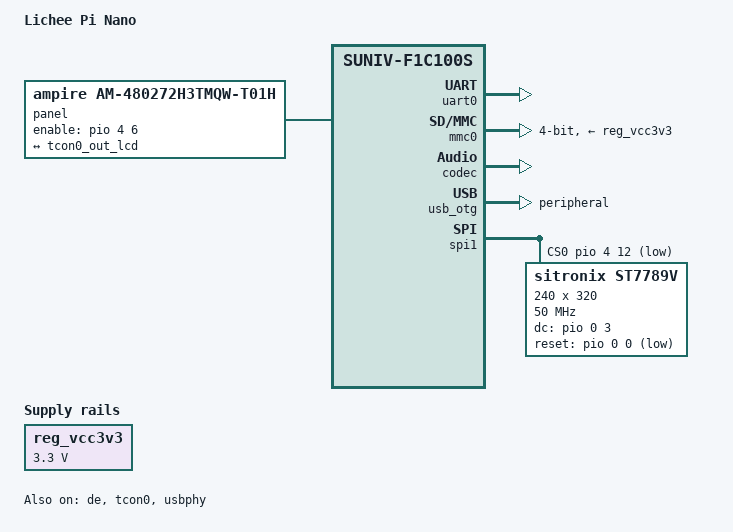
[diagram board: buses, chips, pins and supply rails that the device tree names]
// SPDX-License-Identifier: (GPL-2.0+ OR X11)
/*
 * Copyright 2018 Icenowy Zheng <icenowy@aosc.io>
 */

/dts-v1/;
#include "suniv-f1c100s.dtsi"
#include <dt-bindings/gpio/gpio.h>

/ {
	model = "Lichee Pi Nano";
	compatible = "licheepi,licheepi-nano", "allwinner,suniv-f1c100s";

	aliases {
		serial0 = &uart0;
	};

	chosen {
		stdout-path = "serial0:115200n8";
	};
reg_vcc3v3: vcc3v3 {
        compatible = "regulator-fixed";
        regulator-name = "vcc3v3";
        regulator-min-microvolt = <3300000>;
        regulator-max-microvolt = <3300000>;
    };
panel: panel {  //面板设备节点
		compatible = "ampire,am-480272h3tmqw-t01h", "simple-panel";  //这里是套用了现成的驱动，驱动型号需要根据具体的显示屏进行修改
		#address-cells = <1>;
		#size-cells = <0>;
		enable-gpios = <&pio 4 6 GPIO_ACTIVE_HIGH>;  //指定背光脚位，引用了函数，所以需要添加宏定义

		port@0 {
			reg = <0>;
			#address-cells = <1>;
			#size-cells = <0>;

			panel_input: endpoint@0 {  //panel作为驱动tft的设备，数据来源只有一处，就是tcon的输出，也是通过管道获取
				reg = <0>;
				remote-endpoint = <&tcon0_out_lcd>;
			};
		};
	};
};

&uart0 {
	pinctrl-names = "default";
	pinctrl-0 = <&uart0_pe_pins>;
	status = "okay";
};
&mmc0 {
        vmmc-supply = <&reg_vcc3v3>;
        bus-width = <4>;
        broken-cd;
        status = "okay";
};

&codec {
    allwinner,audio-routing =
    "Headphone", "HP",
    "Headphone", "HPCOM",
    "MIC", "Mic";
    status = "okay";
};
&de {  //启动显示处理功能
	status = "okay";
};
&tcon0 {  //启动tcon
	pinctrl-names = "default";
	pinctrl-0 = <&lcd_rgb666_pins>;
	status = "okay";
};

&tcon0_out {  //接通管道
	tcon0_out_lcd: endpoint@0 {
		reg = <0>;
		remote-endpoint = <&panel_input>;
	};
};

&otg_sram {
        status = "okay";
};&usb_otg {
        dr_mode = "peripheral"; /* 三个可选项: otg / host / peripheral  我在这里指定为host模式*/
        status = "okay";
};&usbphy {
        status = "okay";
};

 #include <dt-bindings/gpio/gpio.h>

  &spi1 {
      pinctrl-names = "default";
      pinctrl-0 = <&spi1_pa_pins>;
      status = "okay";

      /* PE12 作为唯一 SPI CS，低电平有效 */
      cs-gpios = <&pio 4 12 GPIO_ACTIVE_LOW>;



      st7789v: display@0 {
          compatible = "sitronix,st7789v";
          reg = <0>;
          status = "okay";   /* 测 ST7789V 时改 okay，同时把 st7735r 改 disabled */

          spi-max-frequency = <50000000>;
          spi-cpol;
          spi-cpha;

          buswidth = <8>;
          width = <240>;
          height = <320>;
          rgb;
          rotate = <90>;
          fps = <30>;

          dc-gpios = <&pio 0 3 GPIO_ACTIVE_HIGH>;     /* PA3 */
          reset-gpios = <&pio 0 0 GPIO_ACTIVE_LOW>;   /* PA0 */
      };
  };

